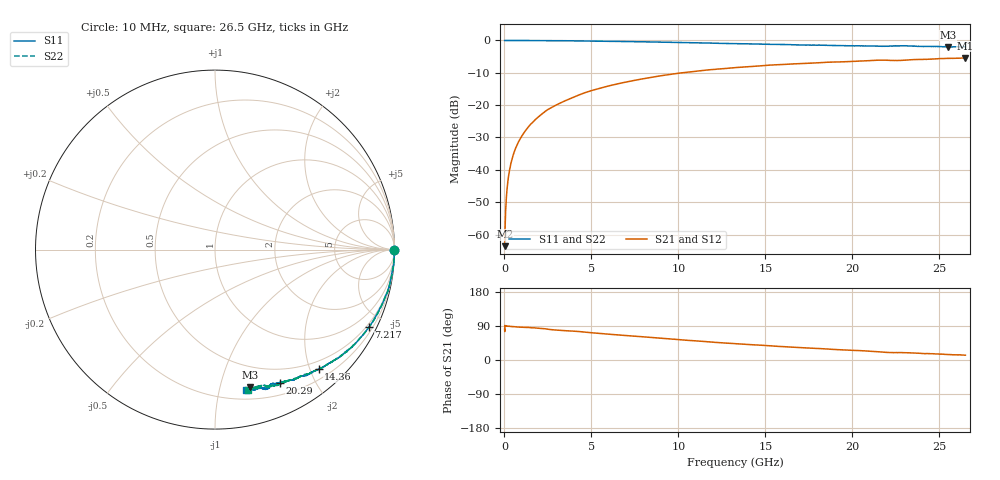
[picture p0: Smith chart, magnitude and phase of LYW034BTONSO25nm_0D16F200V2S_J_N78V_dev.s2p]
!Keysight Technologies,N5222B,MY61253708,A.15.00.15
!Date: Wednesday, June 19, 2024 09:24:24
!Correction: S11(C  2-Port  )
!S21(C  2-Port  )
!S12(C  2-Port  )
!S22(C  2-Port  )
!S2P File: Measurements: S11, S21, S12, S22:
# Hz S  RI  R 50
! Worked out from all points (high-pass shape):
!   2651 points, 10 MHz to 26.5 GHz, reference 50 ohm
!   highest |S21| = -5.37 dB at 26.5 GHz (marker M1); lowest = -63.6 dB at 20 MHz (marker M2)
!   |S21| within 3 dB of the highest: 13.3 GHz to end of sweep
!   lowest |S11| = -2.0 dB at 25.5 GHz (marker M3), VSWR 8.59, Z = 15.1 - j61.9 ohm
!   |S11| at or under -10 dB: nowhere
!   |S22| runs from -2.0 to 0.0 dB; largest |S21 - S12| = 0.0069
!   S11 on the Smith chart (normalised r, x): 10 MHz: open; 7.217 GHz: 0.37, -4.17; 14.36 GHz: 0.36, -2.14; 20.29 GHz: 0.33, -1.55; 26.5 GHz: 0.28, -1.21
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1e7  0.9988 -0.00226  9.99e-05 0.000661  0.000115 0.000613  0.9989 -0.00113
1.999623e7  0.999 -0.00216  0.000172 0.000638  -0.000114 0.000619  0.999 -0.00225
1.799358e8  0.9999 -0.0122  9.79e-05 0.00606  7.74e-05 0.00612  0.9996 -0.0118
2.29917e8  0.9995 -0.0163  0.000124 0.00773  0.000151 0.00779  0.9992 -0.0154
2.998906e8  0.9996 -0.0207  0.000184 0.0101  0.000235 0.0102  0.9993 -0.0201
4.098491e8  0.9991 -0.0281  0.000395 0.0138  0.000368 0.0139  0.9993 -0.0272
5.597925e8  0.9985 -0.0382  0.000677 0.0188  0.000652 0.0189  0.9985 -0.0372
9.196566e8  0.9975 -0.0625  0.00184 0.0306  0.00183 0.0309  0.9972 -0.0619
1.509434e9  0.9899 -0.1022  0.00446 0.0505  0.00447 0.0508  0.9925 -0.1001
2.379106e9  0.981 -0.1571  0.0111 0.0808  0.0114 0.0813  0.982 -0.1579
3.218789e9  0.9688 -0.2111  0.0221 0.1058  0.0223 0.1066  0.969 -0.2107
4.428332e9  0.9405 -0.2838  0.0398 0.1435  0.0403 0.1445  0.9417 -0.2818
7.217279e9  0.8576 -0.4325  0.1037 0.21  0.1052 0.211  0.8576 -0.4325
8.846664e9  0.7973 -0.5056  0.1487 0.2382  0.1504 0.2389  0.7977 -0.505
1.3255e10  0.6194 -0.6437  0.277 0.2603  0.2796 0.26  0.6212 -0.643
1.436458e10  0.5773 -0.6672  0.3062 0.2564  0.3082 0.256  0.5785 -0.6642
1.767333e10  0.4464 -0.7204  0.3826 0.2307  0.3864 0.2287  0.4549 -0.7182
2.029234e10  0.3615 -0.743  0.4324 0.2025  0.4357 0.1996  0.3744 -0.7442
2.209166e10  0.3119 -0.751  0.4639 0.1675  0.4659 0.1641  0.3038 -0.7569
2.308129e10  0.2829 -0.7793  0.4687 0.1632  0.4699 0.1619  0.281 -0.7596
2.550038e10  0.1937 -0.7673  0.5118 0.1303  0.5135 0.1298  0.2122 -0.7699
2.65e10  0.1747 -0.7819  0.5252 0.1193  0.5248 0.1152  0.1859 -0.7795
